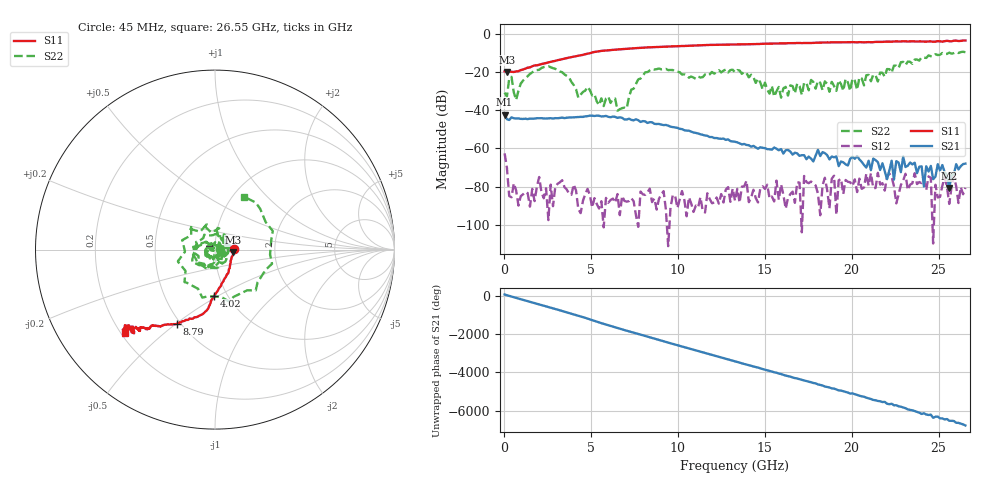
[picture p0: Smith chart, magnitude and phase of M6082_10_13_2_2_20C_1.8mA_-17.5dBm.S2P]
!  2-Port S-parameters saved by WinCal
! VAR MeasName=S-Parameters (CALIBRATED_DATA) read from VNA (C)
! VAR MeasDate=10/16/2015 2:28:56 PM
! VAR NAME=M6082_10_13_2_2_20C_1.8mA_-17.5dBm
! VAR FILENAME=M6082_10_13_2_2_20C_1.8mA_-17.5dBm.S2P
! VAR DATE=10/16/2015 2:28:56 PM
! VAR PHYS_PORTS=2,1
! VAR ObjTypeName=DATASET
! VAR IndexType=Frequency
# Hz S RI R 50
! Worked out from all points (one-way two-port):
!   201 points, 45 MHz to 26.55 GHz, reference 50 ohm
!   highest |S21| = -42.20 dB at 45 MHz (marker M1); lowest = -80.7 dB at 25.62 GHz (marker M2)
!   lowest |S11| = -19.9 dB at 177.5 MHz (marker M3), VSWR 1.23, Z = 61.1 - j1.8 ohm
!   |S11| at or under -10 dB: start of sweep to 4.934 GHz
!   |S22| runs from -40.2 to -9.2 dB; largest |S21 - S12| = 0.0079
!   S11 on the Smith chart (normalised r, x): 45 MHz: 1.24, +0.01; 4.02 GHz: 0.87, -0.48; 8.79 GHz: 0.48, -0.51; 26.55 GHz: 0.22, -0.37
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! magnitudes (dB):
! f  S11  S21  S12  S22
! 45 MHz  -19.5  -42.2  -62.6  -30.7
! 177.5 MHz  -19.9  -44.7  -70.2  -32.7
! 310 MHz  -19.5  -45.1  -85.0  -23.3
! 707.5 MHz  -19.5  -44.3  -82.1  -34.5
! 2.43 GHz  -15.1  -44.3  -80.9  -16.9
! 4.02 GHz  -11.8  -43.7  -78.9  -26.7
! 4.55 GHz  -10.9  -43.4  -87.6  -30.3
! 7.067 GHz  -7.7  -44.8  -87.9  -39.0
! 8.79 GHz  -6.7  -47.2  -92.1  -18.4
! 8.922 GHz  -6.7  -47.1  -86.5  -18.0
! 13.29 GHz  -5.4  -56.5  -87.5  -20.0
! 15.95 GHz  -4.8  -60.3  -78.9  -33.3
! 17.8 GHz  -4.6  -66.8  -78.4  -25.1
! 20.32 GHz  -4.3  -64.0  -82.9  -29.2
! 22.17 GHz  -3.9  -71.5  -73.2  -18.4
! 22.97 GHz  -3.7  -64.3  -76.8  -14.5
! 24.03 GHz  -3.8  -69.4  -78.2  -12.1
! 24.16 GHz  -3.9  -79.9  -76.0  -12.3
! 24.29 GHz  -3.9  -69.3  -81.9  -12.5
! 25.22 GHz  -3.9  -68.7  -79.5  -9.9
! 25.62 GHz  -3.7  -80.7  -89.2  -9.7
! 26.55 GHz  -3.3  -68.0  -80.6  -9.5
